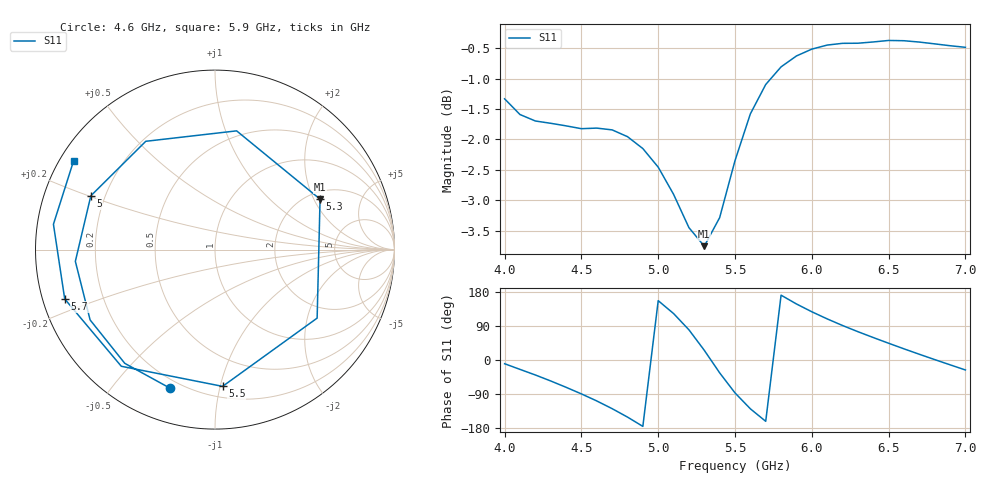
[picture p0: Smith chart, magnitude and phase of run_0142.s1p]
! Touchstone file exported from HFSS 2024.2.0
!  File:  C:/Users/wsak9/Desktop/Sim Fast/Widenad Patch/WP_AI_V1_sweep.aedt
!  Generated:  08:50:49 PM Oct 13, 2026
!  Design:  A1_model
!  Project:  WP_AI_V1_sweep
!  Setup:  Setup1
!  Solution:  Sweep
! Variables:
!  Air_gap = 4.67mm
!  Curve_Amp1 = 1.18
!  Curve_len1 = 1
!  Curve_pos = 11.57mm
!  Extra = 7.32mm
!  H_sub = 0.79mm
!  L_Patch = 19.14mm
!  L_Patch1 = 18.26mm
!  Sx = 3.46mm
!  Sy = 0.34mm
!  WS = 1.39mm
!  W_Patch = 21.27mm
!  W_Patch1 = 10.94mm
!Data is not renormalized
# GHz S MA
! Terminal data exported
! Port[1] = 1
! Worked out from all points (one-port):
!   31 points, 4 GHz to 7 GHz, reference per port
!   lowest |S11| = -3.8 dB at 5.3 GHz (marker M1), VSWR 4.70
!   |S11| at or under -10 dB: nowhere
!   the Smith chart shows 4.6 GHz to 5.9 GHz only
!   S11 on the Smith chart (normalised r, x): 4.6 GHz: 0.16, -0.71; 5 GHz: 0.15, +0.20; 5.3 GHz: 2.31, +2.24; 5.5 GHz: 0.28, -1.02; 5.7 GHz: 0.06, -0.16; 5.9 GHz: 0.04, +0.29
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4  0.8577 -9.8
4.2  0.8226 -39.5
4.4  0.815 -72.0
4.5  0.8107 -89.5
4.6  0.8116 -108.0
4.7  0.8089 -128.4
4.8  0.7986 -150.6
4.9  0.7808 -175.2
5  0.7539 156.6
5.1  0.7161 122.6
5.2  0.6725 79.7
5.3  0.6493 25.6
5.4  0.6852 -33.8
5.5  0.7632 -86.8
5.6  0.8337 -128.8
5.7  0.8813 -161.8
5.8  0.9112 171.1
5.9  0.9301 147.9
6  0.9422 127.3
6.1  0.9494 108.5
6.2  0.9526 91.1
6.3  0.9528 74.7
6.4  0.9551 59.3
6.5  0.9578 44.2
6.6  0.9573 29.5
6.7  0.9549 15.1
6.8  0.9516 1.1
7  0.9454 -26.3
